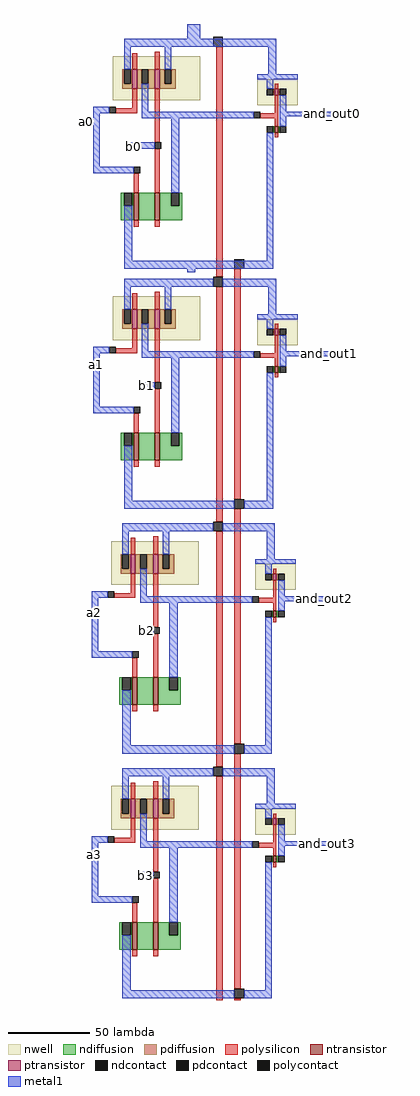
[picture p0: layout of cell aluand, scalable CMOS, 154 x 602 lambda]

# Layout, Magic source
magic
tech scmos
<< nwell >>
rect 10 -38 64 -11
rect 99 -41 124 -25
rect 9 -189 63 -162
rect 98 -192 123 -176
rect 9 -340 63 -313
rect 98 -343 123 -327
<< ntransistor >>
rect 23 -112 26 -95
rect 36 -112 39 -95
rect 22 -263 25 -246
rect 35 -263 38 -246
rect 22 -414 25 -397
rect 35 -414 38 -397
rect 110 -58 112 -54
rect 109 -209 111 -205
rect 109 -360 111 -356
<< ptransistor >>
rect 22 -31 25 -19
rect 36 -31 39 -19
rect 21 -182 24 -170
rect 35 -182 38 -170
rect 21 -333 24 -321
rect 35 -333 38 -321
rect 110 -35 112 -31
rect 109 -186 111 -182
rect 109 -337 111 -333
<< ndiffusion >>
rect 15 -103 17 -95
rect 22 -103 23 -95
rect 15 -112 23 -103
rect 26 -112 36 -95
rect 39 -103 46 -95
rect 51 -103 53 -95
rect 39 -112 53 -103
rect 14 -254 16 -246
rect 21 -254 22 -246
rect 14 -263 22 -254
rect 25 -263 35 -246
rect 38 -254 45 -246
rect 50 -254 52 -246
rect 38 -263 52 -254
rect 14 -405 16 -397
rect 21 -405 22 -397
rect 14 -414 22 -405
rect 25 -414 35 -397
rect 38 -405 45 -397
rect 50 -405 52 -397
rect 38 -414 52 -405
rect 109 -58 110 -54
rect 112 -58 113 -54
rect 108 -209 109 -205
rect 111 -209 112 -205
rect 108 -360 109 -356
rect 111 -360 112 -356
<< pdiffusion >>
rect 16 -28 17 -19
rect 21 -28 22 -19
rect 16 -31 22 -28
rect 25 -28 28 -19
rect 32 -28 36 -19
rect 25 -31 36 -28
rect 39 -28 42 -19
rect 46 -28 49 -19
rect 39 -31 49 -28
rect 15 -179 16 -170
rect 20 -179 21 -170
rect 15 -182 21 -179
rect 24 -179 27 -170
rect 31 -179 35 -170
rect 24 -182 35 -179
rect 38 -179 41 -170
rect 45 -179 48 -170
rect 38 -182 48 -179
rect 15 -330 16 -321
rect 20 -330 21 -321
rect 15 -333 21 -330
rect 24 -330 27 -321
rect 31 -330 35 -321
rect 24 -333 35 -330
rect 38 -330 41 -321
rect 45 -330 48 -321
rect 38 -333 48 -330
rect 109 -35 110 -31
rect 112 -35 113 -31
rect 108 -186 109 -182
rect 111 -186 112 -182
rect 108 -337 109 -333
rect 111 -337 112 -333
<< ndcontact >>
rect 17 -103 22 -95
rect 46 -103 51 -95
rect 16 -254 21 -246
rect 45 -254 50 -246
rect 16 -405 21 -397
rect 45 -405 50 -397
rect 105 -58 109 -54
rect 113 -58 117 -54
rect 104 -209 108 -205
rect 112 -209 116 -205
rect 104 -360 108 -356
rect 112 -360 116 -356
<< pdcontact >>
rect 17 -28 21 -19
rect 28 -28 32 -19
rect 42 -28 46 -19
rect 16 -179 20 -170
rect 27 -179 31 -170
rect 41 -179 45 -170
rect 16 -330 20 -321
rect 27 -330 31 -321
rect 41 -330 45 -321
rect 105 -35 109 -31
rect 113 -35 117 -31
rect 104 -186 108 -182
rect 112 -186 116 -182
rect 104 -337 108 -333
rect 112 -337 116 -333
<< polysilicon >>
rect 74 1 78 143
rect 22 -19 25 -9
rect 36 -19 39 -8
rect 22 -43 25 -31
rect 12 -46 25 -43
rect 36 -64 39 -31
rect 23 -95 26 -83
rect 36 -95 39 -68
rect 23 -116 26 -112
rect 36 -116 39 -112
rect 74 -150 78 -5
rect 21 -170 24 -160
rect 35 -170 38 -159
rect 21 -194 24 -182
rect 11 -197 24 -194
rect 35 -215 38 -182
rect 22 -246 25 -234
rect 35 -246 38 -219
rect 22 -267 25 -263
rect 35 -267 38 -263
rect 74 -301 78 -156
rect 21 -321 24 -311
rect 35 -321 38 -310
rect 21 -345 24 -333
rect 11 -348 24 -345
rect 35 -366 38 -333
rect 22 -397 25 -385
rect 35 -397 38 -370
rect 22 -418 25 -414
rect 35 -418 38 -414
rect 74 -445 78 -307
rect 85 -136 89 6
rect 110 -31 112 -28
rect 110 -46 112 -35
rect 101 -49 112 -46
rect 110 -54 112 -49
rect 110 -61 112 -58
rect 85 -287 89 -142
rect 109 -182 111 -179
rect 109 -197 111 -186
rect 100 -200 111 -197
rect 109 -205 111 -200
rect 109 -212 111 -209
rect 85 -438 89 -293
rect 109 -333 111 -330
rect 109 -348 111 -337
rect 100 -351 111 -348
rect 109 -356 111 -351
rect 109 -363 111 -360
rect 85 -445 89 -444
<< polycontact >>
rect 72 143 78 149
rect 72 -5 78 1
rect 8 -46 12 -42
rect 36 -68 40 -64
rect 23 -83 27 -79
rect 72 -156 78 -150
rect 7 -197 11 -193
rect 35 -219 39 -215
rect 22 -234 26 -230
rect 72 -307 78 -301
rect 7 -348 11 -344
rect 35 -370 39 -366
rect 22 -385 26 -381
rect 85 6 91 12
rect 97 -49 101 -45
rect 85 -142 91 -136
rect 96 -200 100 -196
rect 85 -293 91 -287
rect 96 -351 100 -347
rect 85 -444 91 -438
<< metal1 >>
rect 56 146 64 157
rect 135 100 147 103
rect -7 95 2 99
rect 21 80 32 84
rect 56 4 61 9
rect 17 -5 72 0
rect 78 -5 111 0
rect 17 -19 21 -5
rect 42 -19 46 -5
rect 106 -22 111 -5
rect 99 -25 124 -22
rect -2 -46 8 -42
rect 28 -45 32 -28
rect 105 -31 109 -25
rect 113 -45 117 -35
rect -2 -79 2 -46
rect 28 -49 97 -45
rect 113 -48 147 -45
rect 29 -68 36 -64
rect -2 -83 23 -79
rect 46 -95 51 -49
rect 113 -54 117 -48
rect 17 -137 22 -103
rect 17 -142 85 -137
rect 105 -137 109 -58
rect 91 -142 109 -137
rect 16 -156 72 -151
rect 78 -156 110 -151
rect 16 -170 20 -156
rect 41 -170 45 -156
rect 105 -173 110 -156
rect 98 -176 123 -173
rect -3 -197 7 -193
rect 27 -196 31 -179
rect 104 -182 108 -176
rect 112 -196 116 -186
rect -3 -230 1 -197
rect 27 -200 96 -196
rect 112 -199 144 -196
rect 28 -219 35 -215
rect -3 -234 22 -230
rect 45 -246 50 -200
rect 112 -205 116 -199
rect 16 -288 21 -254
rect 16 -293 85 -288
rect 104 -288 108 -209
rect 91 -293 108 -288
rect 16 -307 72 -302
rect 78 -307 110 -302
rect 16 -321 20 -307
rect 41 -321 45 -307
rect 105 -324 110 -307
rect 98 -327 123 -324
rect -3 -348 7 -344
rect 27 -347 31 -330
rect 104 -333 108 -327
rect 112 -347 116 -337
rect -3 -381 1 -348
rect 27 -351 96 -347
rect 112 -350 145 -347
rect 28 -370 35 -366
rect -3 -385 22 -381
rect 45 -397 50 -351
rect 112 -356 116 -350
rect 16 -439 21 -405
rect 16 -444 85 -439
rect 104 -439 108 -360
rect 91 -444 108 -439
use AND  AND_0
transform 1 0 58 0 1 102
box -60 -96 78 46
<< labels >>
rlabel metal1 -1 -54 1 -52 3 a1
rlabel metal1 -2 -207 0 -205 3 a2
rlabel metal1 -2 -356 0 -354 3 a3
rlabel metal1 29 -369 31 -367 1 b3
rlabel metal1 30 -218 32 -216 1 b2
rlabel metal1 30 -67 32 -65 1 b1
rlabel metal1 145 101 146 102 7 and_out0
rlabel metal1 143 -47 144 -46 7 and_out1
rlabel metal1 140 -198 141 -197 1 and_out2
rlabel metal1 142 -349 143 -348 7 and_out3
rlabel metal1 -7 96 -5 98 3 a0
rlabel metal1 22 81 24 82 1 b0
<< end >>

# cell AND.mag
magic
tech scmos
<< nwell >>
rect -48 8 6 35
rect 41 5 66 21
<< ntransistor >>
rect 52 -12 54 -8
rect -35 -66 -32 -49
rect -22 -66 -19 -49
<< ptransistor >>
rect -36 15 -33 27
rect -22 15 -19 27
rect 52 11 54 15
<< ndiffusion >>
rect 51 -12 52 -8
rect 54 -12 55 -8
rect -43 -57 -41 -49
rect -36 -57 -35 -49
rect -43 -66 -35 -57
rect -32 -66 -22 -49
rect -19 -57 -12 -49
rect -7 -57 -5 -49
rect -19 -66 -5 -57
<< pdiffusion >>
rect -42 18 -41 27
rect -37 18 -36 27
rect -42 15 -36 18
rect -33 18 -30 27
rect -26 18 -22 27
rect -33 15 -22 18
rect -19 18 -16 27
rect -12 18 -9 27
rect -19 15 -9 18
rect 51 11 52 15
rect 54 11 55 15
<< ndcontact >>
rect 47 -12 51 -8
rect 55 -12 59 -8
rect -41 -57 -36 -49
rect -12 -57 -7 -49
<< pdcontact >>
rect -41 18 -37 27
rect -30 18 -26 27
rect -16 18 -12 27
rect 47 11 51 15
rect 55 11 59 15
<< polysilicon >>
rect -36 27 -33 37
rect -22 27 -19 38
rect 52 15 54 18
rect -36 3 -33 15
rect -46 0 -33 3
rect -22 -18 -19 15
rect 52 0 54 11
rect 43 -3 54 0
rect 52 -8 54 -3
rect 52 -15 54 -12
rect -35 -49 -32 -37
rect -22 -49 -19 -22
rect -35 -70 -32 -66
rect -22 -70 -19 -66
<< polycontact >>
rect -50 0 -46 4
rect 39 -3 43 1
rect -22 -22 -18 -18
rect -35 -37 -31 -33
<< metal1 >>
rect -41 41 53 46
rect -41 27 -37 41
rect -16 27 -12 41
rect 48 24 53 41
rect 41 21 66 24
rect -60 0 -50 4
rect -30 1 -26 18
rect 47 15 51 21
rect 55 1 59 11
rect -60 -33 -56 0
rect -30 -3 39 1
rect 55 -2 78 1
rect -29 -22 -22 -18
rect -60 -37 -35 -33
rect -12 -49 -7 -3
rect 55 -8 59 -2
rect -41 -91 -36 -57
rect 47 -91 51 -12
rect -41 -96 51 -91
<< end >>
